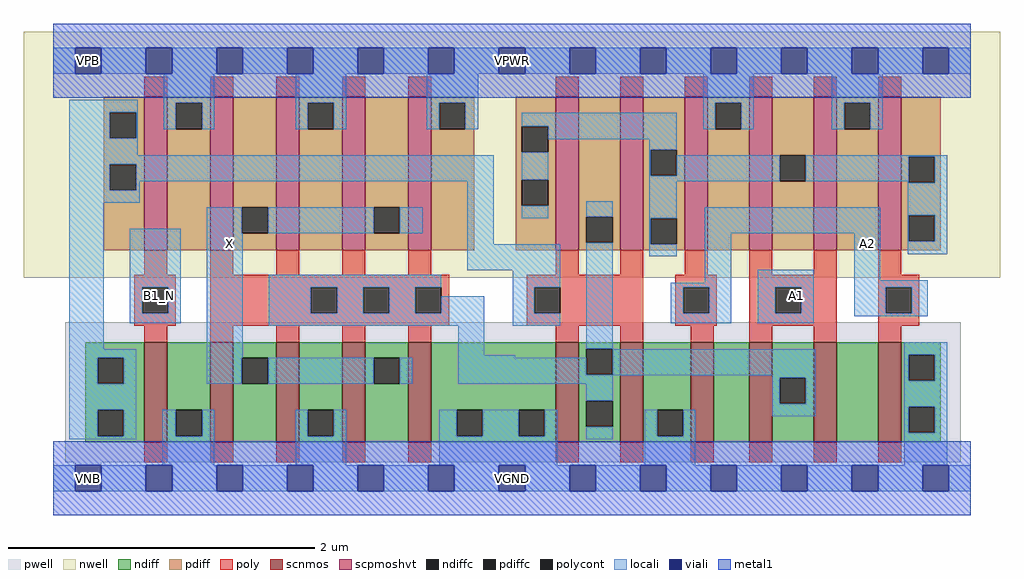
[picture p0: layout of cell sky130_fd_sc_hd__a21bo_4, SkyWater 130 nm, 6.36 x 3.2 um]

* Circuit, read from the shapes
.subckt sky130_fd_sc_hd__a21bo_4 A1 A2 B1_N VGND VNB VPB VPWR X
XM1 VGND B1_N n1 VNB sky130_fd_pr__nfet_01v8 w=0.65 l=0.15
XM2 X n2 VGND VNB sky130_fd_pr__nfet_01v8 w=0.65 l=0.15 m=4
XM3 n2 n1 VGND VNB sky130_fd_pr__nfet_01v8 w=0.65 l=0.15 m=2
XM4 n3 A2 VGND VNB sky130_fd_pr__nfet_01v8 w=0.65 l=0.15
XM5 n2 A1 n3 VNB sky130_fd_pr__nfet_01v8 w=0.65 l=0.15
XM6 n4 A1 n2 VNB sky130_fd_pr__nfet_01v8 w=0.65 l=0.15
XM7 VGND A2 n4 VNB sky130_fd_pr__nfet_01v8 w=0.65 l=0.15
XM8 VPWR B1_N n1 VPB sky130_fd_pr__pfet_01v8_hvt w=1 l=0.15
XM9 X n2 VPWR VPB sky130_fd_pr__pfet_01v8_hvt w=1 l=0.15 m=4
XM10 n2 n1 n5 VPB sky130_fd_pr__pfet_01v8_hvt w=1 l=0.15 m=2
XM11 VPWR A2 n5 VPB sky130_fd_pr__pfet_01v8_hvt w=1 l=0.15 m=2
XM12 n5 A1 VPWR VPB sky130_fd_pr__pfet_01v8_hvt w=1 l=0.15 m=2
.ends

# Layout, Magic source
magic
tech sky130A
magscale 1 2
<< nwell >>
rect -38 261 1234 582
<< pwell >>
rect 16 21 1183 203
rect 29 -17 63 21
<< scnmos >>
rect 119 47 149 177
rect 205 47 235 177
rect 291 47 321 177
rect 377 47 407 177
rect 463 47 493 177
rect 655 47 685 177
rect 739 47 769 177
rect 831 47 861 177
rect 907 47 937 177
rect 991 47 1021 177
rect 1075 47 1105 177
<< scpmoshvt >>
rect 119 297 149 497
rect 205 297 235 497
rect 291 297 321 497
rect 377 297 407 497
rect 463 297 493 497
rect 655 297 685 497
rect 739 297 769 497
rect 823 297 853 497
rect 907 297 937 497
rect 991 297 1021 497
rect 1075 297 1105 497
<< ndiff >>
rect 42 157 119 177
rect 42 123 58 157
rect 92 123 119 157
rect 42 89 119 123
rect 42 55 58 89
rect 92 55 119 89
rect 42 47 119 55
rect 149 89 205 177
rect 149 55 160 89
rect 194 55 205 89
rect 149 47 205 55
rect 235 157 291 177
rect 235 123 246 157
rect 280 123 291 157
rect 235 47 291 123
rect 321 89 377 177
rect 321 55 332 89
rect 366 55 377 89
rect 321 47 377 55
rect 407 157 463 177
rect 407 123 418 157
rect 452 123 463 157
rect 407 47 463 123
rect 493 89 655 177
rect 493 55 526 89
rect 560 55 607 89
rect 641 55 655 89
rect 493 47 655 55
rect 685 169 739 177
rect 685 135 695 169
rect 729 135 739 169
rect 685 101 739 135
rect 685 67 695 101
rect 729 67 739 101
rect 685 47 739 67
rect 769 89 831 177
rect 769 55 787 89
rect 821 55 831 89
rect 769 47 831 55
rect 861 47 907 177
rect 937 131 991 177
rect 937 97 947 131
rect 981 97 991 131
rect 937 47 991 97
rect 1021 47 1075 177
rect 1105 161 1157 177
rect 1105 127 1115 161
rect 1149 127 1157 161
rect 1105 93 1157 127
rect 1105 59 1115 93
rect 1149 59 1157 93
rect 1105 47 1157 59
<< pdiff >>
rect 66 477 119 497
rect 66 443 74 477
rect 108 443 119 477
rect 66 409 119 443
rect 66 375 74 409
rect 108 375 119 409
rect 66 297 119 375
rect 149 489 205 497
rect 149 455 160 489
rect 194 455 205 489
rect 149 297 205 455
rect 235 353 291 497
rect 235 319 246 353
rect 280 319 291 353
rect 235 297 291 319
rect 321 489 377 497
rect 321 455 332 489
rect 366 455 377 489
rect 321 297 377 455
rect 407 353 463 497
rect 407 319 418 353
rect 452 319 463 353
rect 407 297 463 319
rect 493 489 549 497
rect 493 455 503 489
rect 537 455 549 489
rect 493 297 549 455
rect 603 459 655 497
rect 603 425 611 459
rect 645 425 655 459
rect 603 389 655 425
rect 603 355 611 389
rect 645 355 655 389
rect 603 297 655 355
rect 685 341 739 497
rect 685 307 695 341
rect 729 307 739 341
rect 685 297 739 307
rect 769 428 823 497
rect 769 394 779 428
rect 813 394 823 428
rect 769 339 823 394
rect 769 305 779 339
rect 813 305 823 339
rect 769 297 823 305
rect 853 489 907 497
rect 853 455 863 489
rect 897 455 907 489
rect 853 297 907 455
rect 937 421 991 497
rect 937 387 947 421
rect 981 387 991 421
rect 937 297 991 387
rect 1021 489 1075 497
rect 1021 455 1031 489
rect 1065 455 1075 489
rect 1021 297 1075 455
rect 1105 419 1157 497
rect 1105 385 1115 419
rect 1149 385 1157 419
rect 1105 343 1157 385
rect 1105 309 1115 343
rect 1149 309 1157 343
rect 1105 297 1157 309
<< ndiffc >>
rect 58 123 92 157
rect 58 55 92 89
rect 160 55 194 89
rect 246 123 280 157
rect 332 55 366 89
rect 418 123 452 157
rect 526 55 560 89
rect 607 55 641 89
rect 695 135 729 169
rect 695 67 729 101
rect 787 55 821 89
rect 947 97 981 131
rect 1115 127 1149 161
rect 1115 59 1149 93
<< pdiffc >>
rect 74 443 108 477
rect 74 375 108 409
rect 160 455 194 489
rect 246 319 280 353
rect 332 455 366 489
rect 418 319 452 353
rect 503 455 537 489
rect 611 425 645 459
rect 611 355 645 389
rect 695 307 729 341
rect 779 394 813 428
rect 779 305 813 339
rect 863 455 897 489
rect 947 387 981 421
rect 1031 455 1065 489
rect 1115 385 1149 419
rect 1115 309 1149 343
<< poly >>
rect 119 497 149 523
rect 205 497 235 523
rect 291 497 321 523
rect 377 497 407 523
rect 463 497 493 523
rect 655 497 685 523
rect 739 497 769 523
rect 823 497 853 523
rect 907 497 937 523
rect 991 497 1021 523
rect 1075 497 1105 523
rect 119 265 149 297
rect 205 265 235 297
rect 291 265 321 297
rect 377 265 407 297
rect 463 265 493 297
rect 655 265 685 297
rect 739 265 769 297
rect 823 265 853 297
rect 907 265 937 297
rect 991 265 1021 297
rect 106 249 160 265
rect 106 215 116 249
rect 150 215 160 249
rect 106 199 160 215
rect 205 249 516 265
rect 205 215 336 249
rect 370 215 404 249
rect 438 215 472 249
rect 506 215 516 249
rect 205 199 516 215
rect 617 249 769 265
rect 617 215 627 249
rect 661 215 769 249
rect 617 199 769 215
rect 811 249 865 265
rect 811 215 821 249
rect 855 215 865 249
rect 811 199 865 215
rect 907 249 1021 265
rect 907 215 941 249
rect 975 215 1021 249
rect 907 199 1021 215
rect 119 177 149 199
rect 205 177 235 199
rect 291 177 321 199
rect 377 177 407 199
rect 463 177 493 199
rect 655 177 685 199
rect 739 177 769 199
rect 831 177 861 199
rect 907 177 937 199
rect 991 177 1021 199
rect 1075 265 1105 297
rect 1075 249 1129 265
rect 1075 215 1085 249
rect 1119 215 1129 249
rect 1075 199 1129 215
rect 1075 177 1105 199
rect 119 21 149 47
rect 205 21 235 47
rect 291 21 321 47
rect 377 21 407 47
rect 463 21 493 47
rect 655 21 685 47
rect 739 21 769 47
rect 831 21 861 47
rect 907 21 937 47
rect 991 21 1021 47
rect 1075 21 1105 47
<< polycont >>
rect 116 215 150 249
rect 336 215 370 249
rect 404 215 438 249
rect 472 215 506 249
rect 627 215 661 249
rect 821 215 855 249
rect 941 215 975 249
rect 1085 215 1119 249
<< locali >>
rect 0 527 29 561
rect 63 527 121 561
rect 155 527 213 561
rect 247 527 305 561
rect 339 527 397 561
rect 431 527 489 561
rect 523 527 581 561
rect 615 527 673 561
rect 707 527 765 561
rect 799 527 857 561
rect 891 527 949 561
rect 983 527 1041 561
rect 1075 527 1133 561
rect 1167 527 1196 561
rect 21 477 110 493
rect 21 443 74 477
rect 108 443 110 477
rect 144 489 210 527
rect 144 455 160 489
rect 194 455 210 489
rect 316 489 382 527
rect 316 455 332 489
rect 366 455 382 489
rect 487 489 554 527
rect 487 455 503 489
rect 537 455 554 489
rect 847 489 913 527
rect 611 459 813 476
rect 21 421 110 443
rect 645 442 813 459
rect 847 455 863 489
rect 897 455 913 489
rect 1015 489 1081 527
rect 1015 455 1031 489
rect 1065 455 1081 489
rect 21 409 574 421
rect 21 375 74 409
rect 108 387 574 409
rect 108 375 113 387
rect 21 359 113 375
rect 21 168 66 359
rect 100 249 166 325
rect 100 215 116 249
rect 150 215 166 249
rect 100 202 166 215
rect 200 319 246 353
rect 280 319 418 353
rect 452 319 482 353
rect 21 157 108 168
rect 21 123 58 157
rect 92 123 108 157
rect 200 157 247 319
rect 540 305 574 387
rect 611 389 645 425
rect 777 428 813 442
rect 777 394 779 428
rect 813 394 947 421
rect 777 387 947 394
rect 981 419 1165 421
rect 981 387 1115 419
rect 611 339 645 355
rect 695 341 729 361
rect 540 271 661 305
rect 281 249 506 265
rect 281 215 336 249
rect 370 215 404 249
rect 438 215 472 249
rect 599 249 661 271
rect 506 215 562 237
rect 281 199 562 215
rect 599 215 627 249
rect 599 199 661 215
rect 528 160 562 199
rect 695 169 729 307
rect 777 339 813 387
rect 1114 385 1115 387
rect 1149 385 1165 419
rect 777 305 779 339
rect 777 289 813 305
rect 849 319 1078 353
rect 849 255 884 319
rect 805 249 884 255
rect 805 215 821 249
rect 855 215 884 249
rect 805 202 884 215
rect 918 249 991 272
rect 918 215 941 249
rect 975 215 991 249
rect 918 202 991 215
rect 1044 258 1078 319
rect 1114 343 1165 385
rect 1114 309 1115 343
rect 1149 309 1165 343
rect 1114 292 1165 309
rect 1044 249 1140 258
rect 1044 215 1085 249
rect 1119 215 1140 249
rect 1044 211 1140 215
rect 528 157 602 160
rect 200 123 246 157
rect 280 123 418 157
rect 452 123 468 157
rect 528 135 695 157
rect 729 135 993 168
rect 528 134 993 135
rect 528 123 729 134
rect 21 89 108 123
rect 695 101 729 123
rect 21 55 58 89
rect 92 55 108 89
rect 21 51 108 55
rect 142 55 160 89
rect 194 55 210 89
rect 142 17 210 55
rect 316 55 332 89
rect 366 55 382 89
rect 316 17 382 55
rect 503 55 526 89
rect 560 55 607 89
rect 641 55 657 89
rect 503 17 657 55
rect 937 131 993 134
rect 937 97 947 131
rect 981 97 993 131
rect 695 51 729 67
rect 771 55 787 89
rect 821 55 837 89
rect 937 81 993 97
rect 1109 161 1165 177
rect 1109 127 1115 161
rect 1149 127 1165 161
rect 1109 93 1165 127
rect 771 17 837 55
rect 1109 59 1115 93
rect 1149 59 1165 93
rect 1109 17 1165 59
rect 0 -17 29 17
rect 63 -17 121 17
rect 155 -17 213 17
rect 247 -17 305 17
rect 339 -17 397 17
rect 431 -17 489 17
rect 523 -17 581 17
rect 615 -17 673 17
rect 707 -17 765 17
rect 799 -17 857 17
rect 891 -17 949 17
rect 983 -17 1041 17
rect 1075 -17 1133 17
rect 1167 -17 1196 17
<< viali >>
rect 29 527 63 561
rect 121 527 155 561
rect 213 527 247 561
rect 305 527 339 561
rect 397 527 431 561
rect 489 527 523 561
rect 581 527 615 561
rect 673 527 707 561
rect 765 527 799 561
rect 857 527 891 561
rect 949 527 983 561
rect 1041 527 1075 561
rect 1133 527 1167 561
rect 29 -17 63 17
rect 121 -17 155 17
rect 213 -17 247 17
rect 305 -17 339 17
rect 397 -17 431 17
rect 489 -17 523 17
rect 581 -17 615 17
rect 673 -17 707 17
rect 765 -17 799 17
rect 857 -17 891 17
rect 949 -17 983 17
rect 1041 -17 1075 17
rect 1133 -17 1167 17
<< metal1 >>
rect 0 561 1196 592
rect 0 527 29 561
rect 63 527 121 561
rect 155 527 213 561
rect 247 527 305 561
rect 339 527 397 561
rect 431 527 489 561
rect 523 527 581 561
rect 615 527 673 561
rect 707 527 765 561
rect 799 527 857 561
rect 891 527 949 561
rect 983 527 1041 561
rect 1075 527 1133 561
rect 1167 527 1196 561
rect 0 496 1196 527
rect 0 17 1196 48
rect 0 -17 29 17
rect 63 -17 121 17
rect 155 -17 213 17
rect 247 -17 305 17
rect 339 -17 397 17
rect 431 -17 489 17
rect 523 -17 581 17
rect 615 -17 673 17
rect 707 -17 765 17
rect 799 -17 857 17
rect 891 -17 949 17
rect 983 -17 1041 17
rect 1075 -17 1133 17
rect 1167 -17 1196 17
rect 0 -48 1196 -17
<< labels >>
flabel locali s 121 221 155 255 0 FreeSans 340 0 0 0 B1_N
port 3 nsew signal input
flabel locali s 1044 289 1078 323 0 FreeSans 340 0 0 0 A2
port 2 nsew signal input
flabel locali s 952 221 986 255 0 FreeSans 340 0 0 0 A1
port 1 nsew signal input
flabel locali s 213 289 247 323 0 FreeSans 340 0 0 0 X
port 8 nsew signal output
flabel pwell s 29 -17 63 17 0 FreeSans 200 0 0 0 VNB
port 5 nsew ground bidirectional
flabel nwell s 29 527 63 561 0 FreeSans 200 0 0 0 VPB
port 6 nsew power bidirectional
flabel metal1 s 29 -17 63 17 0 FreeSans 200 0 0 0 VGND
port 4 nsew ground bidirectional abutment
flabel metal1 s 29 527 63 561 0 FreeSans 200 0 0 0 VPWR
port 7 nsew power bidirectional abutment
rlabel comment s 0 0 0 0 4 a21bo_4
rlabel metal1 s 0 -48 1196 48 1 VGND
port 4 nsew ground bidirectional abutment
rlabel metal1 s 0 496 1196 592 1 VPWR
port 7 nsew power bidirectional abutment
<< properties >>
string FIXED_BBOX 0 0 1196 544
string GDS_END 3982802
string GDS_FILE $PDKPATH/libs.ref/sky130_fd_sc_hd/gds/sky130_fd_sc_hd.gds
string GDS_START 3974554
string LEFclass CORE
string LEFsite unithd
string LEFsymmetry X Y R90
string path 0.000 0.000 29.900 0.000 
<< end >>
